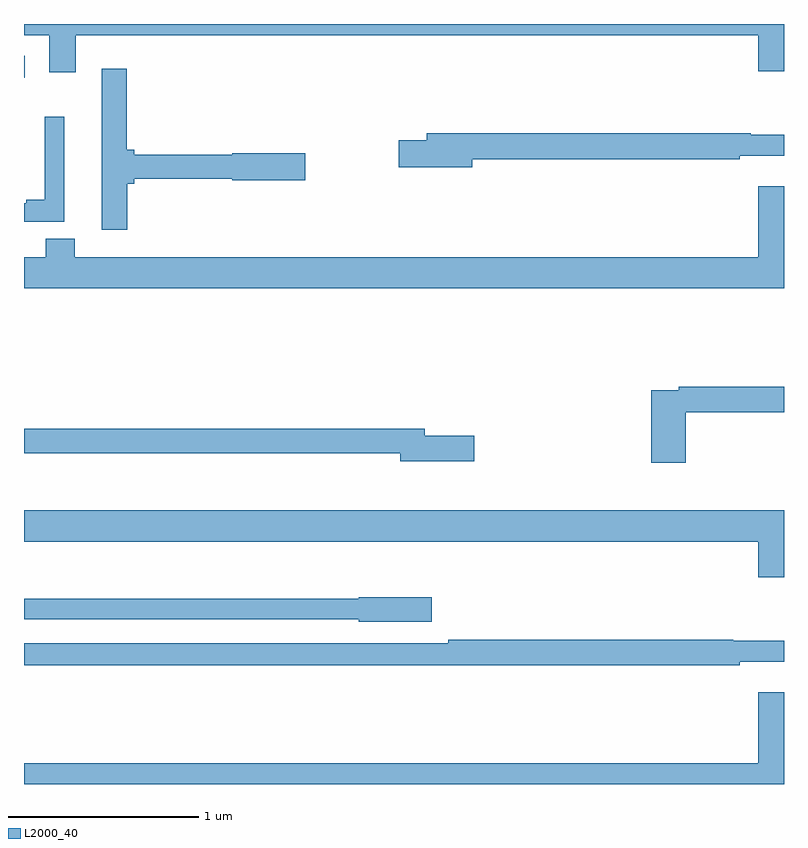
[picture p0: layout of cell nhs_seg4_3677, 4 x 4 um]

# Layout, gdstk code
import gdstk
lib = gdstk.Library(unit=1e-6, precision=1e-09)
def R(c, l, rs):  # rectangles x0, y0, x1, y1
    for r in rs: c.add(gdstk.rectangle(r[:2], r[2:], *l))
def P(c, l, *ps):  # polygons
    for p in ps: c.add(gdstk.Polygon(p, *l))
L2000_40 = (2000, 40)

nhs_seg4_3677 = lib.new_cell('nhs_seg4_3677')
R(nhs_seg4_3677, L2000_40, [(305,776.617,305.005,776.733)])
P(nhs_seg4_3677, L2000_40, [(305.272,776.84),(308.864,776.84),(308.864,776.652),(309,776.652),(309,776.9),(305,776.9),(305,776.84),(305.132,776.84),(305.132,776.646),(305.272,776.646)],
  [(305.543,776.059),(305.579,776.059),(305.579,776.085),(306.096,776.085),(306.096,776.077),(306.481,776.077),(306.481,776.219),(306.096,776.219),(306.096,776.213),(305.579,776.213),(305.579,776.237),(305.54,776.237),(305.54,776.665),(305.408,776.665),(305.408,775.818),(305.543,775.818)],
  [(305.212,776.413),(305.108,776.413),(305.108,775.976),(305.012,775.976),(305.012,775.956),(305,775.956),(305,775.86),(305.212,775.86)],
  [(307.36,776.188),(308.768,776.188),(308.768,776.207),(309,776.207),(309,776.317),(308.825,776.317),(308.825,776.324),(307.121,776.324),(307.121,776.288),(306.972,776.288),(306.972,776.146),(307.36,776.146)],
  [(309,776.047),(308.864,776.047),(308.864,775.672),(305.267,775.672),(305.267,775.771),(305.114,775.771),(305.114,775.672),(305,775.672),(305,775.508),(309,775.508)],
  [(308.483,774.856),(309,774.856),(309,774.992),(308.446,774.992),(308.446,774.972),(308.3,774.972),(308.3,774.591),(308.483,774.591)],
  [(307.369,774.734),(307.108,774.734),(307.108,774.77),(305,774.77),(305,774.642),(306.98,774.642),(306.98,774.599),(307.369,774.599)],
  [(309,774.34),(305,774.34),(305,774.176),(308.864,774.176),(308.864,773.988),(309,773.988)],
  [(307.147,773.883),(306.762,773.883),(306.762,773.875),(305,773.875),(305,773.766),(306.762,773.766),(306.762,773.753),(307.147,773.753)],
  [(308.768,773.543),(309,773.543),(309,773.653),(308.734,773.653),(308.734,773.66),(307.234,773.66),(307.234,773.64),(305,773.64),(305,773.524),(308.768,773.524)],
  [(305,772.9),(309,772.9),(309,773.383),(308.864,773.383),(308.864,773.008),(305,773.008)])

lib.write_gds('nhs_seg4_3677.gds')
